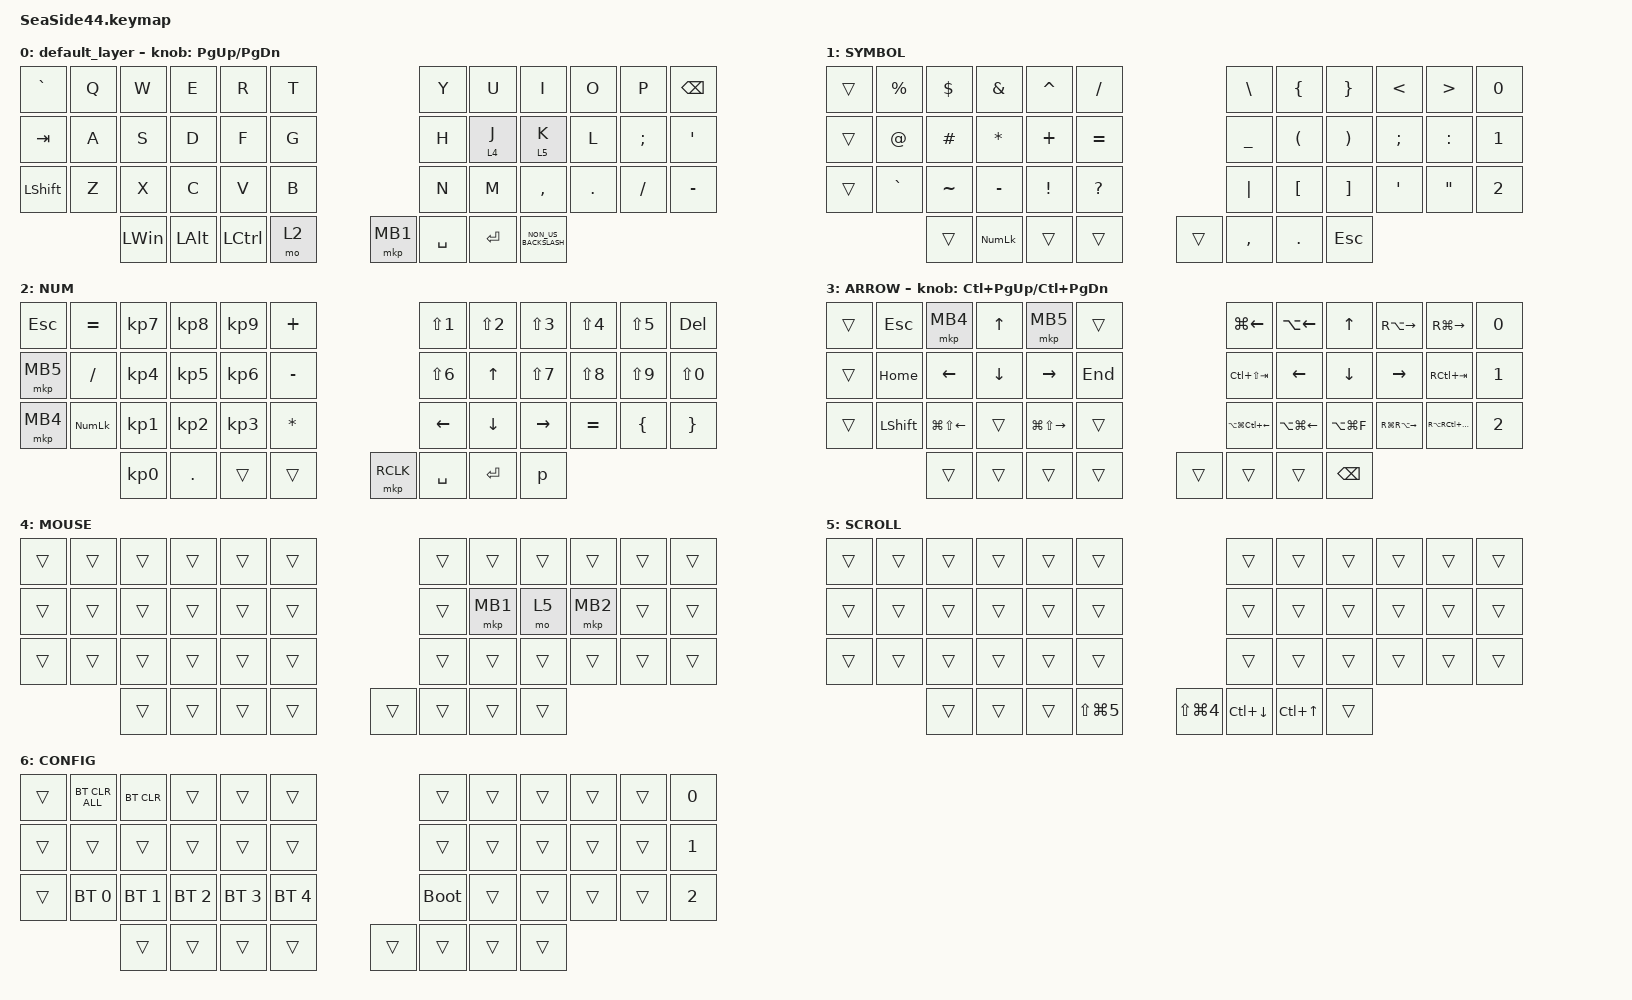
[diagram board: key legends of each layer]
#include <input/processors.dtsi>
#include <behaviors.dtsi>
#include <dt-bindings/zmk/bt.h>
#include <dt-bindings/zmk/keys.h>
#include <dt-bindings/zmk/pointing.h>

#define MOUSE 4
#define SCROLL 5
#define NUM 6

/ {
    combos { compatible = "zmk,combos"; };

    macros {
        p: to_layer_0 {
            compatible = "zmk,behavior-macro";
            #binding-cells = <0>;
            bindings = <&kp KP_N0 &kp KP_N3 &kp KP_N1 &kp KP_N2 &kp KP_N0 &kp KP_N1>;
            label = "TO_LAYER_0";
        };
    };

    behaviors {
        lt_to_layer_0: lt_to_layer_0 {
            compatible = "zmk,behavior-hold-tap";
            label = "LAYER_TAP_TO_0";
            bindings = <&mo>, <&p>;

            #binding-cells = <2>;
            tapping-term-ms = <200>;
        };
    };

    keymap {
        compatible = "zmk,keymap";

        default_layer {
            bindings = <
&kp GRAVE  &kp Q  &kp W     &kp E         &kp R      &kp T                             &kp Y      &kp U    &kp I                 &kp O       &kp P          &kp BACKSPACE
&kp TAB    &kp A  &kp S     &kp D         &kp F      &kp G                             &kp H      &lt 4 J  &lt 5 K               &kp L       &kp SEMICOLON  &kp SQT
&kp LSHFT  &kp Z  &kp X     &kp C         &kp V      &kp B                             &kp N      &kp M    &kp COMMA             &kp PERIOD  &kp SLASH      &kp MINUS
                  &kp LWIN  &kp LEFT_ALT  &kp LCTRL  &mo 2  &mkp MB1    &kp SPACE  &kp ENTER            &kp NON_US_BACKSLASH
            >;

            sensor-bindings = <&inc_dec_kp PG_UP PAGE_DOWN>;
        };

        SYMBOL {
            bindings = <
&trans  &kp PRCNT  &kp DOLLAR  &kp AMPERSAND  &kp CARET        &kp FSLH                                     &kp BSLH        &kp LEFT_BRACE        &kp RIGHT_BRACE        &kp LESS_THAN  &kp GREATER_THAN   &kp N0
&trans  &kp AT     &kp HASH    &kp ASTERISK   &kp PLUS         &kp EQUAL                                    &kp UNDERSCORE  &kp LEFT_PARENTHESIS  &kp RIGHT_PARENTHESIS  &kp SEMI       &kp COLON          &kp N1
&trans  &kp GRAVE  &kp TILDE   &kp MINUS      &kp EXCLAMATION  &kp QUESTION                                 &kp PIPE        &kp LBKT              &kp RBKT               &kp SQT        &kp DQT            &kp N2
                   &trans      &kp KP_NUM     &trans           &trans        &trans    &kp COMMA  &kp PERIOD                                    &kp ESC
            >;
        };

        NUM {
            bindings = <
&kp ESC   &kp EQUAL  &kp KP_N7  &kp KP_N8  &kp KP_N9  &kp PLUS                                &kp LS(N1)  &kp LS(N2)  &kp LS(N3)  &kp LS(N4)  &kp LS(N5)        &kp DEL
&mkp MB5  &kp SLASH  &kp KP_N4  &kp KP_N5  &kp KP_N6  &kp MINUS                               &kp LS(N6)  &kp UP_ARROW      &kp LS(N7)  &kp LS(N8)  &kp LS(N9)  &kp LS(N0)
&mkp MB4  &kp KP_NUM &kp KP_N1  &kp KP_N2  &kp KP_N3  &kp ASTERISK                            &kp LEFT_ARROW    &kp DOWN_ARROW    &kp RIGHT_ARROW   &kp EQUAL         &kp LBRC          &kp RIGHT_BRACE
                     &kp KP_N0  &kp DOT    &trans     &trans        &mkp RCLK    &kp SPACE  &kp ENTER                                   &p
            >;
        };

        ARROW {
            bindings = <
&trans  &kp ESCAPE      &mkp MB4                &kp UP_ARROW    &mkp MB5                 &trans                     &kp LG(LEFT_ARROW)          &kp LA(LEFT_ARROW)      &kp UP_ARROW    &kp RA(RIGHT_ARROW)      &kp RG(RIGHT_ARROW)          &kp N0
&trans  &kp HOME        &kp LEFT_ARROW          &kp DOWN_ARROW  &kp RIGHT_ARROW          &kp END                    &kp LC(LS(TAB))             &kp LEFT_ARROW          &kp DOWN_ARROW  &kp RIGHT_ARROW          &kp RC(TAB)                  &kp N1
&trans  &kp LEFT_SHIFT  &kp LG(LS(LEFT_ARROW))  &trans          &kp LG(LS(RIGHT_ARROW))  &trans                     &kp LA(LG(LC(LEFT_ARROW)))  &kp LA(LG(LEFT_ARROW))  &kp LA(LG(F))   &kp RG(RA(RIGHT_ARROW))  &kp RA(RC(RG(RIGHT_ARROW)))  &kp N2
                        &trans                  &trans          &trans                                              &trans   &trans    &trans  &trans                                                                                   &kp BACKSPACE
            >;

            sensor-bindings = <&inc_dec_kp LC(PAGE_UP) LC(PAGE_DOWN)>;
        };

        MOUSE {
            bindings = <
&trans  &trans  &trans  &trans  &trans  &trans                    &trans  &trans    &trans  &trans    &trans  &trans
&trans  &trans  &trans  &trans  &trans  &trans                    &trans  &mkp MB1  &mo 5   &mkp MB2  &trans  &trans
&trans  &trans  &trans  &trans  &trans  &trans                    &trans  &trans    &trans  &trans    &trans  &trans
                &trans  &trans  &trans  &trans  &trans    &trans  &trans            &trans
            >;
        };

        SCROLL {
            bindings = <
&trans  &trans  &trans  &trans          &trans          &trans                    &trans            &trans  &trans  &trans  &trans  &trans
&trans  &trans  &trans  &trans          &trans          &trans                    &trans            &trans  &trans  &trans  &trans  &trans
&trans  &trans  &trans  &trans          &trans          &trans                    &trans            &trans  &trans  &trans  &trans  &trans
                &trans  &trans  &trans  &kp LS(LG(N5))  &kp LS(LG(N4))    &kp LC(DOWN)  &kp LC(UP_ARROW)          &trans
            >;
        };

        CONFIG {
            bindings = <
&trans  &bt BT_CLR_ALL  &bt BT_CLR    &trans        &trans        &trans                          &trans       &trans  &trans  &trans  &trans  &kp N0
&trans  &trans          &trans        &trans        &trans        &trans                          &trans       &trans  &trans  &trans  &trans  &kp N1
&trans  &bt BT_SEL 0    &bt BT_SEL 1  &bt BT_SEL 2  &bt BT_SEL 3  &bt BT_SEL 4                    &bootloader  &trans  &trans  &trans  &trans  &kp N2
                        &trans        &trans        &trans        &trans        &trans    &trans  &trans               &trans
            >;
        };
    };
};
